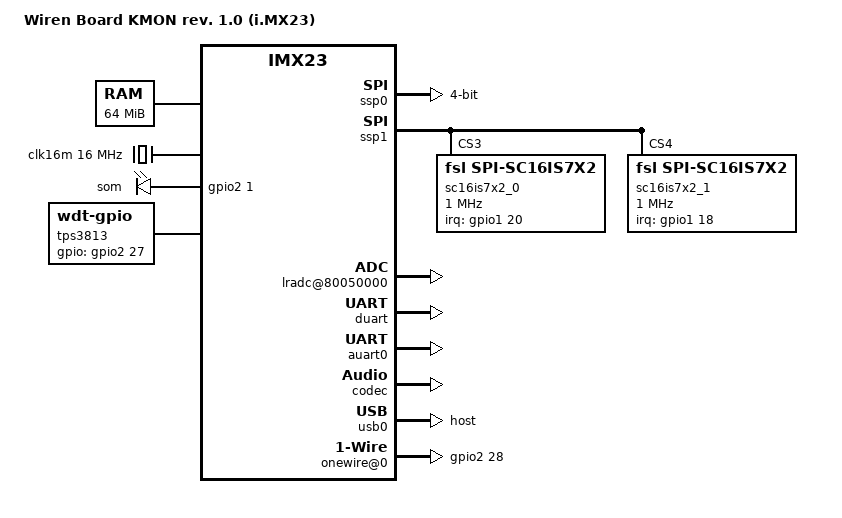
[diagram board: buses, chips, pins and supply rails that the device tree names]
/*
 * Copyright 2012 Freescale Semiconductor, Inc.
 *
 * Author: Fabio Estevam <fabio.estevam@freescale.com>
 *
 * The code contained herein is licensed under the GNU General Public
 * License. You may obtain a copy of the GNU General Public License
 * Version 2 or later at the following locations:
 *
 * http://www.opensource.org/licenses/gpl-license.html
 * http://www.gnu.org/copyleft/gpl.html
 */

/dts-v1/;
#include "imx23.dtsi"

/ {
	model = "Wiren Board KMON rev. 1.0 (i.MX23)";
	compatible = "contactless,imx23-wirenboard-kmon1", "contactless,imx23-wirenboard32", "olimex,imx23-olinuxino", "fsl,imx23";

	memory {
		reg = <0x40000000 0x04000000>;
	};


    clk16m: oscillator {
         compatible = "fixed-clock";
         #clock-cells = <0>;
         clock-frequency  = <16000000>;
         clock-output-names = "clk16m";
    };

	apb@80000000 {
		apbh@80000000 {
			ssp0: ssp@80010000 {
				compatible = "fsl,imx23-mmc";
				pinctrl-names = "default";
				pinctrl-0 = <&mmc0_4bit_pins_a &mmc0_pins_fixup>;
				bus-width = <4>;
				broken-cd;
				status = "okay";
			};

			pinctrl@80018000 {
				pinctrl-names = "default";
				pinctrl-0 = <&hog_pins_a &i2c0_pins_a_gpio
							&pin_gpio_pu_0_5
							&pin_gpio_pu_0_6
							&pin_gpio_pu_0_7
							&pin_gpio_pu_0_16
							>;


				hog_pins_a: hog@0 {
					reg = <0>;
					fsl,pinmux-ids = <
						0x2013 /* MX23_PAD_SSP1_DETECT__GPIO_2_1 */
						0x0113 /* MX23_PAD_GPMI_ALE__GPIO_0_17 */
					>;
					fsl,drive-strength = <0>;
					fsl,voltage = <1>;
					fsl,pull-up = <0>;
				};

				i2c_gpio: i2c_gpio {
					reg = <0>;
					fsl,pinmux-ids = <
						0x0173 // MX23_PAD_GPMI_WPN__GPIO_0_23
						0x0193 // MX23_PAD_GPMI_RDN__GPIO_0_25
					>;
					fsl,pull-up = <1>;
				};

		        i2c0_pins_a: i2c0@0 {
		           reg = <0>;
		           fsl,pinmux-ids = <
		           0x1171 /* MX23_PAD_LCD_ENABLE__I2C_SCL */
		           0x1181 /* MX23_PAD_LCD_HSYNC__I2C_SDA */
		           >;
		           fsl,drive-strength = <1>;
		           fsl,voltage = <1>;
		           fsl,pull-up = <1>;
		        };

		        i2c0_pins_a_gpio: i2c0_pins_a_gpio {
		           reg = <0>;
		           fsl,pinmux-ids = <
		           0x1173 /* MX23_PAD_LCD_ENABLE__GPIO_1_23 */
		           0x1183 /* MX23_PAD_LCD_HSYNC__GPIO_1_24 */
		           >;
		           fsl,drive-strength = <1>;
		           fsl,voltage = <1>;
		           fsl,pull-up = <1>;
		        };

				spi2_pins_nocs: spi2@0 {
					reg = <0>;
					fsl,pinmux-ids = <
						0x0182 /* MX23_PAD_GPMI_WRN__SSP2_SCK */
						0x0142 /* MX23_PAD_GPMI_RDY1__SSP2_CMD */
						0x0002 /* MX23_PAD_GPMI_D00__SSP2_DATA0 */
					>;
					fsl,drive-strength = <1>;
					fsl,voltage = <1>;
					fsl,pull-up = <1>;
				};

		        cs_mem_gpio_pins: cs_mem_gpio_pins{
		           reg = <0>;
		           fsl,pinmux-ids = <
			           0x0133 /* MX23_PAD_GPMI_RDY0__GPIO_0_19 */
		           >;
		           fsl,drive-strength = <1>;
		           fsl,voltage = <1>;
		        };


				pin_gpio_pu_0_5: pin_gpio_pu_0_5@0 {
					reg = <0>;
					fsl,pinmux-ids = <
						0x0053 /* MX23_PAD_GPMI_D05__GPIO_0_5 */

					>;
					fsl,drive-strength = <0>;
					fsl,voltage = <1>;
					/* enable 47K pull-up on terminal block R4 (gpio 5) */
					fsl,pull-up = <1>;
				};

				pin_gpio_pu_0_6: pin_gpio_pu_0_6@0 {
					reg = <0>;
					fsl,pinmux-ids = <
						0x0063 /* MX23_PAD_GPMI_D06__GPIO_0_6 */

					>;
					fsl,drive-strength = <0>;
					fsl,voltage = <1>;
					/* enable 47K pull-up on terminal block R3 (gpio 6) */
					fsl,pull-up = <1>;
				};

				pin_gpio_pu_0_7: pin_gpio_pu_0_7@0 {
					reg = <0>;
					fsl,pinmux-ids = <
						0x0073 /* MX23_PAD_GPMI_D07__GPIO_0_7 */

					>;
					fsl,drive-strength = <0>;
					fsl,voltage = <1>;
					/* enable 47K pull-up on terminal block R2 (gpio 7) */
					fsl,pull-up = <1>;
				};

				pin_gpio_pu_0_16: pin_gpio_pu_0_16@0 {
					reg = <0>;
					fsl,pinmux-ids = <
						0x0103 /* MX23_PAD_GPMI_CLE__GPIO_0_16 */

					>;
					fsl,drive-strength = <0>;
					fsl,voltage = <1>;
					/* enable 47K pull-up on terminal block R1 (gpio 16) */
					fsl,pull-up = <1>;
				};





			};

			ssp1: ssp@80034000 {
				#address-cells = <1>;
				#size-cells = <0>;
				compatible = "fsl,imx23-spi";
				pinctrl-names = "default";
				pinctrl-0 = <&spi2_pins_nocs &cs_mem_gpio_pins>;
				status = "okay";
				cs-gpios = <&gpio0 3 0 /* cs0 fixme: use hardware cs directly*/
							&gpio0 4 0 /* cs1 fixme: use hardware cs directly*/
							>;


				sc16is7x2_0: sc16is7x2@0 {
					compatible = "fsl,spi-sc16is7x2";
					spi-max-frequency = <1000000>;
					reg = <3>;
					gpio-base = <120>;
					uart-base = <0>;

					interrupt-parent = <&gpio1>;
					interrupts = <20 0>;
					uartclk = <14745600>;

					disable-modem-pins-on-startup-a;
					disable-modem-pins-on-startup-b;

					rs485-rts-active-high-a;
					rs485-rts-active-high-b;

					rs485-enabled-at-boot-time-a;
					rs485-enabled-at-boot-time-b;


					#gpio-cells = <2>;
					gpio-controller;
				};

				sc16is7x2_1: sc16is7x2@1 {
					compatible = "fsl,spi-sc16is7x2";
					spi-max-frequency = <1000000>;
					reg = <4>;
					gpio-base = <130>;
					uart-base = <2>;

					interrupt-parent = <&gpio1>;
					interrupts = <18 0>;
					uartclk = <14745600>;
					#gpio-cells = <2>;
					gpio-controller;


					rs485-rts-active-high-a;
					rs485-rts-active-high-b;

					rs485-enabled-at-boot-time-a;
					rs485-enabled-at-boot-time-b;

				};







			};
		};

		apbx@80040000 {
			rtc@8005c000 {
				status = "okay";
			};

			lradc@80050000 {
				status = "okay";
			};

/* Uncomment no enable hardware i2c */
/*
			i2c0: i2c@80058000 {
				pinctrl-names = "default";
				pinctrl-0 = <&i2c0_pins_a>;
				status = "okay";
			};
*/

			duart: serial@80070000 {
				pinctrl-names = "default";
				pinctrl-0 = <&duart_pins_a>;
				status = "okay";
			};

			auart0: serial@8006c000 {
				pinctrl-names = "default";
				pinctrl-0 = <&auart0_2pins_a>;
				status = "okay";
			};

			usbphy0: usbphy@8007c000 {
				status = "okay";
			};


			codec: mxs-builtin-codec {
				compatible = "fsl,mxs-builtin-codec";
				reg = <0x80048000 0x2000>, <0x8004c000 0x2000>,
					<0x8005c000 0x2000>;
				reg-names = "audioout", "audioin", "rtc";
				clocks = <&clks 31>;
				clock-names = "filt";
				disable-mic-bias;
			};

			platform_dai: mxs-builtin-cpu-dai {
				compatible = "fsl,mxs-builtin-cpu-dai";
				reg = <0x80048000 0x2000>, <0x8004c000 0x2000>,
				<0x8005c000 0x2000>;
				reg-names = "audioout", "audioin", "rtc";
				interrupts = <8 6 4>;
				dmas = <&dma_apbx 0>, <&dma_apbx 1>;
				dma-names = "rx", "tx";
			};


			/*
			pwm: pwm@80064000 {
		            pinctrl-names = "default";
		            pinctrl-0 = <&pwm2_pins_a>;
		            status = "okay";
		    };
		    */


		};
	};

	ahb@80080000 {
		usb0: usb@80080000 {
		    /*vbus-supply = <&reg_33v_bus>;*/
			status = "okay";
			dr_mode = "host";
		};
	};


	leds {
		compatible = "gpio-leds";
		pinctrl-names = "default";

		som {
			label = "som";
			gpios = <&gpio2 1 0>;
			linux,default-trigger = "timer";
		};

/*		green {
			label = "green";
			gpios = <&sc16is7x2_0 7 1>;
			linux,default-trigger = "default-on";
		};


		red {
			label = "red";
			gpios = <&sc16is7x2_0 6 1>;
			linux,default-trigger = "default-on";
		};
*/

	};

    /*
    reg_isolated_5v: regulator@1 {
		compatible = "regulator-fixed";
		regulator-name = "5v_isolated";
		regulator-min-microvolt = <5000000>;
		regulator-max-microvolt = <5000000>;
		gpio = <&sc16is7x2_1 3 0>;
		startup-delay-us = <70000>;
		enable-active-high;
		regulator-boot-on;

	};

	userspacereg {
		compatible = "reg-userspace-consumer";
		vtest-supply = <&reg_isolated_5v>;
	};
	*/

	mxs-builtin-audio {
		compatible = "fsl,mxs-builtin-audio";
		audio-codec = <&codec>;
		cpu-dai = <&platform_dai>;
	};




	onewire@0 {
		compatible = "w1-gpio";
		gpios = <&gpio2 28 0>;
		/* FIXME: add pullup */
	};




	tps3813: watchdog {
		/* tps3813 */
		compatible = "linux,wdt-gpio";
		gpios = <&gpio2 27 0>;
		hw_algo = "toggle";
		hw_margin_ms = <1000>;
		always-running;
		timeout-sec = <30>;
	};





};
